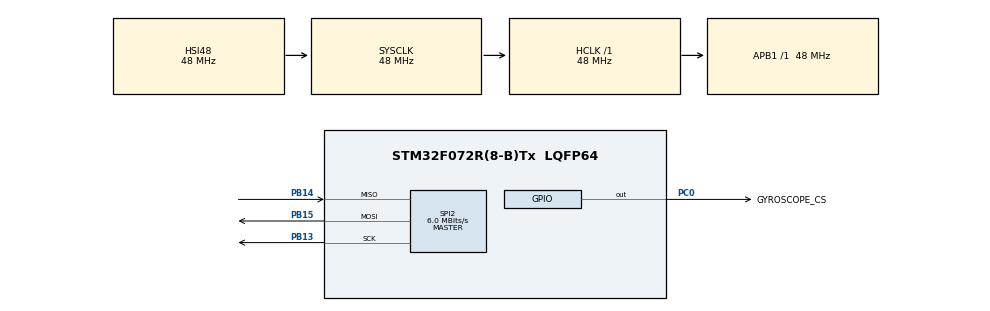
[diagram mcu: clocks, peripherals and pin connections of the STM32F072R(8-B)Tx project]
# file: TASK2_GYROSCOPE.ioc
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Mcu.Family=STM32F0
Mcu.Name=STM32F072R(8-B)Tx
Mcu.Package=LQFP64
PB13.Mode=Full_Duplex_Master
PB13.Signal=SPI2_SCK
PB14.Mode=Full_Duplex_Master
PB14.Signal=SPI2_MISO
PB15.Mode=Full_Duplex_Master
PB15.Signal=SPI2_MOSI
PC0.GPIO_Label=GYROSCOPE_CS
PC0.GPIO_Speed=GPIO_SPEED_FREQ_MEDIUM
PC0.Signal=GPIO_Output
PF0-OSC_IN.Mode=HSE-External-Oscillator
PF0-OSC_IN.Signal=RCC_OSC_IN
PF1-OSC_OUT.Mode=HSE-External-Oscillator
PF1-OSC_OUT.Signal=RCC_OSC_OUT
ProjectManager.HeapSize=0x200
ProjectManager.StackSize=0x400
ProjectManager.TargetToolchain=STM32CubeIDE
RCC.AHBFreq_Value=48000000
RCC.APB1Freq_Value=48000000
RCC.APB1TimFreq_Value=48000000
RCC.HCLKFreq_Value=48000000
RCC.PLLSourceVirtual=RCC_PLLSOURCE_HSE
RCC.SYSCLKFreq_VALUE=48000000
RCC.SYSCLKSource=RCC_SYSCLKSOURCE_HSI48
SPI2.BaudRatePrescaler=SPI_BAUDRATEPRESCALER_8
SPI2.CalculateBaudRate=6.0 MBits/s
SPI2.DataSize=SPI_DATASIZE_8BIT
SPI2.Direction=SPI_DIRECTION_2LINES
SPI2.Mode=SPI_MODE_MASTER
SPI2.VirtualType=VM_MASTER
board=custom

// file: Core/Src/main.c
/* USER CODE BEGIN Header */
/**
 ******************************************************************************
 * @file           : main.c
 * @brief          : Main program body
 ******************************************************************************
 * @attention
 *
 * Copyright (c) 2023 STMicroelectronics.
 * All rights reserved.
 *
 * This software is licensed under terms that can be found in the LICENSE file
 * in the root directory of this software component.
 * If no LICENSE file comes with this software, it is provided AS-IS.
 *
 ******************************************************************************
 */
/* USER CODE END Header */
#include "main.h"
#include <stdlib.h>
#include <math.h>
/* USER CODE BEGIN Includes */
#define DUMMY_BYTE          ((uint8_t)0x00)
#define READWRITE_CMD       ((uint8_t)0x80)
#define MULTIPLEBYTE_CMD    ((uint8_t)0x40)
#define SPIx_TIMEOUT_MAX    ((uint32_t)0x1000)
#define L3GD20_WHO_AM_I_ADDR  ((uint8_t)0x0F)
#define L3GD20_OUT_X_L_ADDR   ((uint8_t)0x28)
#define L3GD20_CTRL_REG1 	  ((uint8_t)0x20)
#define L3GD20_CTRL_REG4	  ((uint8_t)0x23)

#define GYRO_CS_LOW()       HAL_GPIO_WritePin(GPIOC, GYROSCOPE_CS_Pin, GPIO_PIN_RESET)
#define GYRO_CS_HIGH()      HAL_GPIO_WritePin(GPIOC, GYROSCOPE_CS_Pin, GPIO_PIN_SET)
/* USER CODE END Includes */

SPI_HandleTypeDef hspi2;
float Data_AngRate[3] =
{ 0 };
float Data_Ang[3] =
{ 0 };

void SystemClock_Config(void);
static void MX_GPIO_Init(void);
static void MX_SPI2_Init(void);

static uint8_t SPIx_WriteRead(uint8_t byte);

void GYRO_IO_Init(void);
void GYRO_IO_Write(uint8_t *pBuffer, uint8_t WriteAddr, uint16_t NumByteToWrite);
void GYRO_IO_Read(uint8_t *pBuffer, uint8_t ReadAddr, uint16_t NumByteToRead);
void GYRO_ReadXYZ_AngRate(float *Data);

/* USER CODE BEGIN 0 */
static uint8_t SPIx_WriteRead(uint8_t Byte)
{

	uint8_t receivedbyte = 0;

	HAL_SPI_TransmitReceive(&hspi2, (uint8_t*) &Byte, (uint8_t*) &receivedbyte,
			1, SPIx_TIMEOUT_MAX);

	return receivedbyte;
}

void GYRO_IO_Write(uint8_t *pBuffer, uint8_t WriteAddr, uint16_t NumByteToWrite)
{
	if (NumByteToWrite > 0x01)
	{
		WriteAddr |= (uint8_t) MULTIPLEBYTE_CMD;
	}
	GYRO_CS_LOW();

	SPIx_WriteRead(WriteAddr);

	while (NumByteToWrite >= 0x01)
	{
		SPIx_WriteRead(*pBuffer);
		NumByteToWrite--;
		pBuffer++;
	}

	GYRO_CS_HIGH();
}

void GYRO_IO_Read(uint8_t *pBuffer, uint8_t ReadAddr, uint16_t NumByteToRead)
{
	if (NumByteToRead > 0x01)
	{
		ReadAddr |= (uint8_t) (READWRITE_CMD | MULTIPLEBYTE_CMD);
	}
	else
	{
		ReadAddr |= (uint8_t) READWRITE_CMD;
	}
	GYRO_CS_LOW();

	SPIx_WriteRead(ReadAddr);

	while (NumByteToRead > 0x00)
	{
		*pBuffer = SPIx_WriteRead(DUMMY_BYTE);
		NumByteToRead--;
		pBuffer++;
	}

	GYRO_CS_HIGH();
}

void GYRO_ReadXYZ_AngRate(float *Data)
{
	float sensitivity = 0.07;
	uint8_t tmpbuffer[6] =
	{ 0 };
	int16_t RawData[3] =
	{ 0 };

	GYRO_IO_Read(tmpbuffer, L3GD20_OUT_X_L_ADDR, 6);

	for (int i = 0; i < 3; i++)
	{
		RawData[i] = (int16_t) (((uint16_t) tmpbuffer[2 * i + 1] << 8)
				+ tmpbuffer[2 * i]);
	}

	for (int i = 0; i < 3; i++)
	{
		Data[i] = (float) (RawData[i] * sensitivity);
		if (abs(Data[i]) < 0.0001)
			Data[i] = 0;
	}

}

/* USER CODE END 0 */

int main(void)
{

	/* MCU Configuration--------------------------------------------------------*/

	/* Reset of all peripherals, Initializes the Flash interface and the Systick. */
	HAL_Init();

	/* Configure the system clock */
	SystemClock_Config();

	/* Initialize all configured peripherals */
	MX_GPIO_Init();
	MX_SPI2_Init();
	/* USER CODE BEGIN 2 */

	// Включаем оси и настраиваем чувствительность 2000dps
	uint8_t ctrl = 0x0f;
	GYRO_IO_Write(&ctrl, L3GD20_CTRL_REG1, 1);
	ctrl = 0x30;
	GYRO_IO_Write(&ctrl, L3GD20_CTRL_REG4, 1);

	/* USER CODE END 2 */
	uint8_t address_whoami = 0x0F;
	uint8_t data;

	GYRO_IO_Read(&data, address_whoami, 1);

	/* Infinite loop */
	while (1)
	{
		GYRO_ReadXYZ_AngRate(Data_AngRate);
		for (int i = 0; i < 3; ++i)
		{
			Data_Ang[i] += Data_AngRate[i] * 0.05;
			Data_Ang[i] = fmodf(Data_Ang[i], 360.0);
		}
		HAL_Delay(50);
	}
}

void SystemClock_Config(void)
{
	RCC_OscInitTypeDef RCC_OscInitStruct =
	{ 0 };
	RCC_ClkInitTypeDef RCC_ClkInitStruct =
	{ 0 };

	/** Initializes the RCC Oscillators according to the specified parameters
	 * in the RCC_OscInitTypeDef structure.
	 */
	RCC_OscInitStruct.OscillatorType = RCC_OSCILLATORTYPE_HSI48;
	RCC_OscInitStruct.HSI48State = RCC_HSI48_ON;
	RCC_OscInitStruct.PLL.PLLState = RCC_PLL_NONE;
	if (HAL_RCC_OscConfig(&RCC_OscInitStruct) != HAL_OK)
	{
		Error_Handler();
	}

	/** Initializes the CPU, AHB and APB buses clocks
	 */
	RCC_ClkInitStruct.ClockType = RCC_CLOCKTYPE_HCLK | RCC_CLOCKTYPE_SYSCLK
			| RCC_CLOCKTYPE_PCLK1;
	RCC_ClkInitStruct.SYSCLKSource = RCC_SYSCLKSOURCE_HSI48;
	RCC_ClkInitStruct.AHBCLKDivider = RCC_SYSCLK_DIV1;
	RCC_ClkInitStruct.APB1CLKDivider = RCC_HCLK_DIV1;

	if (HAL_RCC_ClockConfig(&RCC_ClkInitStruct, FLASH_LATENCY_1) != HAL_OK)
	{
		Error_Handler();
	}
}

static void MX_SPI2_Init(void)
{

	/* SPI2 parameter configuration*/
	hspi2.Instance = SPI2;
	hspi2.Init.Mode = SPI_MODE_MASTER;
	hspi2.Init.Direction = SPI_DIRECTION_2LINES;
	hspi2.Init.DataSize = SPI_DATASIZE_8BIT;
	hspi2.Init.CLKPolarity = SPI_POLARITY_LOW;
	hspi2.Init.CLKPhase = SPI_PHASE_1EDGE;
	hspi2.Init.NSS = SPI_NSS_SOFT;
	hspi2.Init.BaudRatePrescaler = SPI_BAUDRATEPRESCALER_8;
	hspi2.Init.FirstBit = SPI_FIRSTBIT_MSB;
	hspi2.Init.TIMode = SPI_TIMODE_DISABLE;
	hspi2.Init.CRCCalculation = SPI_CRCCALCULATION_DISABLE;
	hspi2.Init.CRCPolynomial = 7;
	hspi2.Init.CRCLength = SPI_CRC_LENGTH_DATASIZE;
	hspi2.Init.NSSPMode = SPI_NSS_PULSE_ENABLE;
	if (HAL_SPI_Init(&hspi2) != HAL_OK)
	{
		Error_Handler();
	}

}

static void MX_GPIO_Init(void)
{
	GPIO_InitTypeDef GPIO_InitStruct =
	{ 0 };

	/* GPIO Ports Clock Enable */
	__HAL_RCC_GPIOF_CLK_ENABLE();
	__HAL_RCC_GPIOC_CLK_ENABLE();
	__HAL_RCC_GPIOB_CLK_ENABLE();

	/*Configure GPIO pin Output Level */
	HAL_GPIO_WritePin(GYROSCOPE_CS_GPIO_Port, GYROSCOPE_CS_Pin, GPIO_PIN_RESET);

	/*Configure GPIO pin : GYROSCOPE_CS_Pin */
	GPIO_InitStruct.Pin = GYROSCOPE_CS_Pin;
	GPIO_InitStruct.Mode = GPIO_MODE_OUTPUT_PP;
	GPIO_InitStruct.Pull = GPIO_NOPULL;
	GPIO_InitStruct.Speed = GPIO_SPEED_FREQ_MEDIUM;
	HAL_GPIO_Init(GYROSCOPE_CS_GPIO_Port, &GPIO_InitStruct);

}

void Error_Handler(void)
{
	__disable_irq();
	while (1)
	{
	}
}
